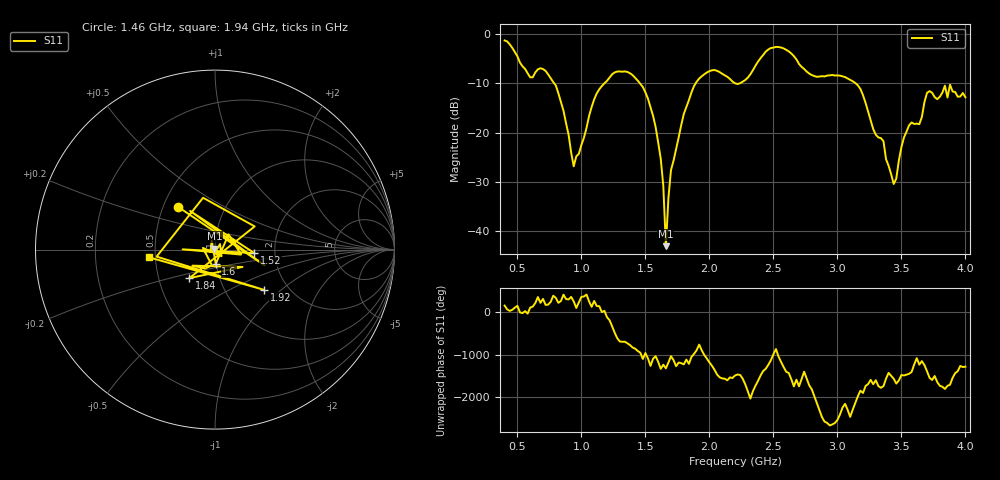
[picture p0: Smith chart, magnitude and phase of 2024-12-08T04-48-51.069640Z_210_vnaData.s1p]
!Created with skrf (http://scikit-rf.org).
# Hz S RI R 50.0
!freq ReS11 ImS11
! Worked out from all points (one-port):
!   181 points, 400 MHz to 4 GHz, reference 50 ohm
!   lowest |S11| = -43.1 dB at 1.66 GHz (marker M1), VSWR 1.01, Z = 49.6 + j0.595 ohm
!   |S11| at or under -10 dB: 787.4 MHz to 1.18 GHz (392.2 MHz wide, 39.9 % of centre); 1.457 GHz to 1.893 GHz (436.2 MHz wide, 26 % of centre); 3.143 GHz to end of sweep (the widest 3 of 4)
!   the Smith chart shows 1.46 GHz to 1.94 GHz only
!   S11 on the Smith chart (normalised r, x): 1.46 GHz: 0.60, +0.31; 1.52 GHz: 1.56, -0.07; 1.6 GHz: 1.00, -0.16; 1.84 GHz: 0.72, -0.24; 1.92 GHz: 1.51, -0.77; 1.94 GHz: 0.46, -0.04
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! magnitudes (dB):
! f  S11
! 400 MHz  -1.3
! 600 MHz  -8.8
! 720 MHz  -7.5
! 860 MHz  -15.6
! 940 MHz  -26.9
! 1.12 GHz  -12.0
! 1.3 GHz  -7.6
! 1.46 GHz  -10.1
! 1.52 GHz  -13.1
! 1.6 GHz  -22.0
! 1.64 GHz  -30.9
! 1.66 GHz  -43.1
! 1.7 GHz  -27.6
! 1.76 GHz  -21.0
! 1.84 GHz  -13.4
! 1.92 GHz  -9.0
! 1.94 GHz  -8.6
! 2.2 GHz  -10.0
! 2.48 GHz  -2.8
! 2.66 GHz  -4.5
! 2.8 GHz  -8.3
! 3.1 GHz  -9.3
! 3.36 GHz  -21.8
! 3.44 GHz  -30.4
! 3.56 GHz  -18.5
! 3.64 GHz  -18.3
! 3.72 GHz  -11.6
! 4 GHz  -12.8
